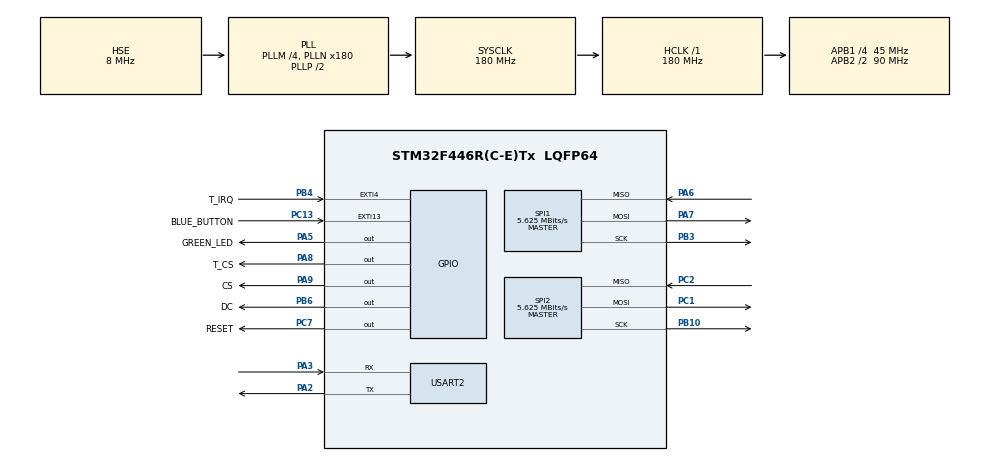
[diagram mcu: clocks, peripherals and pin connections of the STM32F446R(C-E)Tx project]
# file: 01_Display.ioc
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Dma.Request0=SPI1_TX
Dma.Request1=USART2_RX
Dma.Request2=USART2_TX
Dma.SPI1_TX.0.Direction=DMA_MEMORY_TO_PERIPH
Dma.SPI1_TX.0.FIFOMode=DMA_FIFOMODE_DISABLE
Dma.SPI1_TX.0.Instance=DMA2_Stream3
Dma.SPI1_TX.0.MemDataAlignment=DMA_MDATAALIGN_BYTE
Dma.SPI1_TX.0.MemInc=DMA_MINC_ENABLE
Dma.SPI1_TX.0.Mode=DMA_NORMAL
Dma.SPI1_TX.0.PeriphDataAlignment=DMA_PDATAALIGN_BYTE
Dma.SPI1_TX.0.PeriphInc=DMA_PINC_DISABLE
Dma.SPI1_TX.0.Priority=DMA_PRIORITY_LOW
Dma.USART2_RX.1.Direction=DMA_PERIPH_TO_MEMORY
Dma.USART2_RX.1.FIFOMode=DMA_FIFOMODE_DISABLE
Dma.USART2_RX.1.Instance=DMA1_Stream5
Dma.USART2_RX.1.MemDataAlignment=DMA_MDATAALIGN_BYTE
Dma.USART2_RX.1.MemInc=DMA_MINC_ENABLE
Dma.USART2_RX.1.Mode=DMA_NORMAL
Dma.USART2_RX.1.PeriphDataAlignment=DMA_PDATAALIGN_BYTE
Dma.USART2_RX.1.PeriphInc=DMA_PINC_DISABLE
Dma.USART2_RX.1.Priority=DMA_PRIORITY_LOW
Dma.USART2_TX.2.Direction=DMA_MEMORY_TO_PERIPH
Dma.USART2_TX.2.FIFOMode=DMA_FIFOMODE_DISABLE
Dma.USART2_TX.2.Instance=DMA1_Stream6
Dma.USART2_TX.2.MemDataAlignment=DMA_MDATAALIGN_BYTE
Dma.USART2_TX.2.MemInc=DMA_MINC_ENABLE
Dma.USART2_TX.2.Mode=DMA_NORMAL
Dma.USART2_TX.2.PeriphDataAlignment=DMA_PDATAALIGN_BYTE
Dma.USART2_TX.2.PeriphInc=DMA_PINC_DISABLE
Dma.USART2_TX.2.Priority=DMA_PRIORITY_LOW
FREERTOS.Queues01=sharedQueue,16,uint32_t,0,Dynamic,NULL,NULL
FREERTOS.Tasks01=normalTask,24,128,startNormalTask,Default,NULL,Dynamic,NULL,NULL;lvglTask,8,128,startLvglTask,Default,NULL,Dynamic,NULL,NULL;belowNormalTask,16,128,startBelowNormal,Default,NULL,Dynamic,NULL,NULL
FREERTOS.Timers01=lvglTimer,lvglTimerCallback,osTimerPeriodic,Default,NULL,Dynamic,NULL
Mcu.Family=STM32F4
Mcu.Name=STM32F446R(C-E)Tx
Mcu.Package=LQFP64
NVIC.DMA1_Stream5_IRQn=true\:5\:0\:false\:false\:true\:true\:false\:true\:true
NVIC.DMA1_Stream6_IRQn=true\:5\:0\:false\:false\:true\:true\:false\:true\:true
NVIC.DMA2_Stream3_IRQn=true\:5\:0\:false\:false\:true\:true\:false\:true\:true
NVIC.EXTI4_IRQn=true\:5\:0\:false\:false\:true\:true\:true\:true\:true
NVIC.PriorityGroup=NVIC_PRIORITYGROUP_4
NVIC.SPI1_IRQn=true\:5\:0\:false\:false\:true\:true\:true\:true\:true
NVIC.SPI2_IRQn=true\:5\:0\:false\:false\:true\:true\:true\:true\:true
NVIC.TIM6_DAC_IRQn=true\:15\:0\:false\:false\:true\:false\:false\:true\:true
NVIC.TimeBase=TIM6_DAC_IRQn
NVIC.TimeBaseIP=TIM6
NVIC.USART2_IRQn=true\:5\:0\:false\:false\:true\:true\:true\:true\:true
PA13.Mode=Serial_Wire
PA13.Signal=SYS_JTMS-SWDIO
PA14.Mode=Serial_Wire
PA14.Signal=SYS_JTCK-SWCLK
PA2.Mode=Asynchronous
PA2.Signal=USART2_TX
PA3.Mode=Asynchronous
PA3.Signal=USART2_RX
PA5.GPIO_Label=GREEN_LED
PA5.Signal=GPIO_Output
PA6.Mode=Full_Duplex_Master
PA6.Signal=SPI1_MISO
PA7.Mode=Full_Duplex_Master
PA7.Signal=SPI1_MOSI
PA8.GPIO_Label=T_CS
PA8.Signal=GPIO_Output
PA9.GPIO_Label=CS
PA9.Signal=GPIO_Output
PB10.Mode=Full_Duplex_Master
PB10.Signal=SPI2_SCK
PB3.Mode=Full_Duplex_Master
PB3.Signal=SPI1_SCK
PB4.GPIO_Label=T_IRQ
PB4.GPIO_ModeDefaultEXTI=GPIO_MODE_IT_FALLING
PB4.Signal=GPXTI4
PB6.GPIO_Label=DC
PB6.Signal=GPIO_Output
PC1.Mode=Full_Duplex_Master
PC1.Signal=SPI2_MOSI
PC13.GPIO_Label=BLUE_BUTTON
PC13.GPIO_ModeDefaultEXTI=GPIO_MODE_IT_FALLING
PC13.Signal=GPXTI13
PC14-OSC32_IN.Mode=LSE-External-Oscillator
PC14-OSC32_IN.Signal=RCC_OSC32_IN
PC15-OSC32_OUT.Mode=LSE-External-Oscillator
PC15-OSC32_OUT.Signal=RCC_OSC32_OUT
PC2.Mode=Full_Duplex_Master
PC2.Signal=SPI2_MISO
PC7.GPIO_Label=RESET
PC7.Signal=GPIO_Output
PH0-OSC_IN.Mode=HSE-External-Oscillator
PH0-OSC_IN.Signal=RCC_OSC_IN
PH1-OSC_OUT.Mode=HSE-External-Oscillator
PH1-OSC_OUT.Signal=RCC_OSC_OUT
ProjectManager.HeapSize=0x200
ProjectManager.StackSize=0x400
ProjectManager.TargetToolchain=CMake
RCC.AHBFreq_Value=180000000
RCC.APB1CLKDivider=RCC_HCLK_DIV4
RCC.APB1Freq_Value=45000000
RCC.APB1TimFreq_Value=90000000
RCC.APB2CLKDivider=RCC_HCLK_DIV2
RCC.APB2Freq_Value=90000000
RCC.APB2TimFreq_Value=180000000
RCC.CortexFreq_Value=180000000
RCC.HCLKFreq_Value=180000000
RCC.HSE_VALUE=8000000
RCC.PLLM=4
RCC.PLLN=180
RCC.PLLSourceVirtual=RCC_PLLSOURCE_HSE
RCC.RCC_RTC_Clock_SourceVirtual=RCC_RTCCLKSOURCE_LSE
RCC.SYSCLKFreq_VALUE=180000000
RCC.SYSCLKSource=RCC_SYSCLKSOURCE_PLLCLK
RCC.USBFreq_Value=180000000
RCC.VCOOutputFreq_Value=360000000
RTC.Date=12
RTC.Hours=9
RTC.Minutes=11
RTC.Month=RTC_MONTH_AUGUST
RTC.Year=25
SPI1.BaudRatePrescaler=SPI_BAUDRATEPRESCALER_16
SPI1.CalculateBaudRate=5.625 MBits/s
SPI1.Direction=SPI_DIRECTION_2LINES
SPI1.Mode=SPI_MODE_MASTER
SPI1.VirtualType=VM_MASTER
SPI2.BaudRatePrescaler=SPI_BAUDRATEPRESCALER_8
SPI2.CalculateBaudRate=5.625 MBits/s
SPI2.Direction=SPI_DIRECTION_2LINES
SPI2.Mode=SPI_MODE_MASTER
SPI2.VirtualType=VM_MASTER
USART2.VirtualMode=VM_ASYNC
VP_FREERTOS_VS_CMSIS_V2.Mode=CMSIS_V2
VP_RTC_VS_RTC_Activate.Mode=RTC_Enabled
VP_RTC_VS_RTC_Calendar.Mode=RTC_Calendar
VP_SYS_VS_tim6.Mode=TIM6
board=custom

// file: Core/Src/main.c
/* USER CODE BEGIN Header */
/**
  ******************************************************************************
  * @file           : main.c
  * @brief          : Main program body
  ******************************************************************************
  * @attention
  *
  * Copyright (c) 2025 STMicroelectronics.
  * All rights reserved.
  *
  * This software is licensed under terms that can be found in the LICENSE file
  * in the root directory of this software component.
  * If no LICENSE file comes with this software, it is provided AS-IS.
  *
  ******************************************************************************
  */
/* USER CODE END Header */
#include "main.h"
#include "ILI9341.h"
#include "cmsis_os.h"
#include "dma.h"
#include "lv_init.h"
#include "rtc.h"
#include "spi.h"
#include "usart.h"
#include "gpio.h"

/* USER CODE BEGIN Includes */
#include "lvgl.h"
#include "LCDController.h"
#include "TouchController.h"
#include "board_drivers.h"

/* USER CODE END Includes */

/* USER CODE BEGIN PD */
void load_gui(void);

/* USER CODE END PD */

void SystemClock_Config(void);
void MX_FREERTOS_Init(void);

int main(void)
{

  /* USER CODE BEGIN 1 */
  // Super early blink to confirm code is running at all
  RCC->AHB1ENR |= RCC_AHB1ENR_GPIOAEN;
  GPIOA->MODER &= ~(3U << (5 * 2));
  GPIOA->MODER |= (1U << (5 * 2));
  for(int i=0; i<20; i++) {
    GPIOA->ODR ^= (1U << 5);
    for(volatile int j=0; j<100000; j++);
  }
  /* USER CODE END 1 */

  /* MCU Configuration--------------------------------------------------------*/

  /* Reset of all peripherals, Initializes the Flash interface and the Systick. */
  HAL_Init();

  /* Configure the system clock */
  SystemClock_Config();

  /* Initialize all configured peripherals */
  MX_GPIO_Init();

  MX_DMA_Init();
  MX_SPI1_Init();
  MX_RTC_Init();
  MX_SPI2_Init();
  MX_USART2_UART_Init();
  /* USER CODE BEGIN 2 */
  lv_init();
  lv_port_disp_init(Board_GetDisplayConfig());
  TouchController_Init(Board_GetTouchConfig());
  load_gui();

  /* USER CODE END 2 */

  /* Init scheduler */
  osKernelInitialize();  /* Call init function for freertos objects (in cmsis_os2.c) */
  MX_FREERTOS_Init();

  /* Start scheduler */
  osKernelStart();

  /* We should never get here as control is now taken by the scheduler */

  /* Infinite loop */
  while (1)
  {

  }
}

void SystemClock_Config(void)
{
  RCC_OscInitTypeDef RCC_OscInitStruct = {0};
  RCC_ClkInitTypeDef RCC_ClkInitStruct = {0};

  /** Configure the main internal regulator output voltage
  */
  __HAL_RCC_PWR_CLK_ENABLE();
  __HAL_PWR_VOLTAGESCALING_CONFIG(PWR_REGULATOR_VOLTAGE_SCALE1);

  /** Initializes the RCC Oscillators according to the specified parameters
  * in the RCC_OscInitTypeDef structure.
  */
  RCC_OscInitStruct.OscillatorType = RCC_OSCILLATORTYPE_HSE|RCC_OSCILLATORTYPE_LSE;
  RCC_OscInitStruct.HSEState = RCC_HSE_ON;
  RCC_OscInitStruct.LSEState = RCC_LSE_ON;
  RCC_OscInitStruct.PLL.PLLState = RCC_PLL_ON;
  RCC_OscInitStruct.PLL.PLLSource = RCC_PLLSOURCE_HSE;
  RCC_OscInitStruct.PLL.PLLM = 4;
  RCC_OscInitStruct.PLL.PLLN = 180;
  RCC_OscInitStruct.PLL.PLLP = RCC_PLLP_DIV2;
  RCC_OscInitStruct.PLL.PLLQ = 2;
  RCC_OscInitStruct.PLL.PLLR = 2;
  if (HAL_RCC_OscConfig(&RCC_OscInitStruct) != HAL_OK)
  {
    Error_Handler();
  }

  /** Activate the Over-Drive mode
  */
  if (HAL_PWREx_EnableOverDrive() != HAL_OK)
  {
    Error_Handler();
  }

  /** Initializes the CPU, AHB and APB buses clocks
  */
  RCC_ClkInitStruct.ClockType = RCC_CLOCKTYPE_HCLK|RCC_CLOCKTYPE_SYSCLK
                              |RCC_CLOCKTYPE_PCLK1|RCC_CLOCKTYPE_PCLK2;
  RCC_ClkInitStruct.SYSCLKSource = RCC_SYSCLKSOURCE_PLLCLK;
  RCC_ClkInitStruct.AHBCLKDivider = RCC_SYSCLK_DIV1;
  RCC_ClkInitStruct.APB1CLKDivider = RCC_HCLK_DIV4;
  RCC_ClkInitStruct.APB2CLKDivider = RCC_HCLK_DIV2;

  if (HAL_RCC_ClockConfig(&RCC_ClkInitStruct, FLASH_LATENCY_5) != HAL_OK)
  {
    Error_Handler();
  }
}

/* USER CODE BEGIN 4 */
lv_obj_t * time_label = NULL;
lv_obj_t * date_label = NULL;

void load_gui(void)
{
    /* Create a screen */
    lv_obj_t * scr = lv_scr_act();

    /* Create a label on the screen */
    lv_obj_t * label = lv_label_create(scr);
    lv_label_set_text(label, "Hello, LVGL!");
    lv_obj_align(label, LV_ALIGN_CENTER, 0, -60);

    /* Create date label */
    date_label = lv_label_create(scr);
    lv_label_set_text(date_label, "--/--/----");
    lv_obj_align(date_label, LV_ALIGN_CENTER, 0, -20);

    /* Create time label */
    time_label = lv_label_create(scr);
    lv_label_set_text(time_label, "--:--:--");
    lv_obj_align(time_label, LV_ALIGN_CENTER, 0, 20);
}

/* USER CODE END 4 */

void HAL_TIM_PeriodElapsedCallback(TIM_HandleTypeDef *htim)
{
  if (htim->Instance == TIM6)
  {
    HAL_IncTick();
  }
}

void Error_Handler(void)
{
  __disable_irq();
  while (1)
  {
  }
}

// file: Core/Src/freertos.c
/* USER CODE BEGIN Header */
/**
  ******************************************************************************
  * File Name          : freertos.c
  * Description        : Code for freertos applications
  ******************************************************************************
  * @attention
  *
  * Copyright (c) 2025 STMicroelectronics.
  * All rights reserved.
  *
  * This software is licensed under terms that can be found in the LICENSE file
  * in the root directory of this software component.
  * If no LICENSE file comes with this software, it is provided AS-IS.
  *
  ******************************************************************************
  */
/* USER CODE END Header */

#include "FreeRTOS.h"
#include "cmsis_os2.h"
#include "misc/lv_timer.h"
#include "task.h"
#include "main.h"
#include "cmsis_os.h"

/* USER CODE BEGIN Includes */
#include "stm32f4xx_hal_gpio.h"
#include "rtc.h"
#include "usart.h"
#include "lvgl.h"
#include "TouchController.h"
#include <stdint.h>
#include <stdio.h>
#include <inttypes.h>
/* USER CODE END Includes */

/* USER CODE BEGIN Variables */
volatile uint32_t debugCounter = 0;

/* USER CODE END Variables */
/* Definitions for normalTask */
osThreadId_t normalTaskHandle;
const osThreadAttr_t normalTask_attributes = {
  .name = "normalTask",
  .stack_size = 128 * 4,
  .priority = (osPriority_t) osPriorityNormal,
};
/* Definitions for lvglTask */
osThreadId_t lvglTaskHandle;
const osThreadAttr_t lvglTask_attributes = {
  .name = "lvglTask",
  .stack_size = 2048 * 4,
  .priority = (osPriority_t) osPriorityLow,
};
/* Definitions for belowNormalTask */
osThreadId_t belowNormalTaskHandle;
const osThreadAttr_t belowNormalTask_attributes = {
  .name = "belowNormalTask",
  .stack_size = 128 * 4,
  .priority = (osPriority_t) osPriorityBelowNormal,
};
/* Definitions for sharedQueue */
osMessageQueueId_t sharedQueueHandle;
const osMessageQueueAttr_t sharedQueue_attributes = {
  .name = "sharedQueue"
};
/* Definitions for lvglTimer */
osTimerId_t lvglTimerHandle;
const osTimerAttr_t lvglTimer_attributes = {
  .name = "lvglTimer"
};

/* USER CODE BEGIN FunctionPrototypes */
osThreadId_t readAndLoadTimeHandle;
const osThreadAttr_t readAndLoadTime_attributes = {
  .name = "readAndLoadTime",
  .stack_size = 256 * 4,
  .priority = (osPriority_t) osPriorityLow3,
};

osThreadId_t dmaUartHandle;
const osThreadAttr_t dmaUart_attributes = {
  .name = "dmaUart",
  .stack_size = 256 * 4,
  .priority = (osPriority_t) osPriorityLow2,
};

osThreadId_t updateTimeGuiHandle;
const osThreadAttr_t updateTimeGui_attributes = {
  .name = "updateTimeGui",
  .stack_size = 256 * 4,
  .priority = (osPriority_t) osPriorityLow7,
};

void StartReadAndLoadTime(void *argument);
void StartDmaUartSender(void *argument);
void StartUpdateTimeGui(void *argument);

/* USER CODE END FunctionPrototypes */

void startNormalTask(void *argument);
void startLvglTask(void *argument);
void startBelowNormal(void *argument);
void lvglTimerCallback(void *argument);

void MX_FREERTOS_Init(void); /* (MISRA C 2004 rule 8.1) */

void MX_FREERTOS_Init(void) {

  /* Create the timer(s) */
  /* creation of lvglTimer */
  lvglTimerHandle = osTimerNew(lvglTimerCallback, osTimerPeriodic, NULL, &lvglTimer_attributes);

  /* USER CODE BEGIN RTOS_TIMERS */
  /* start timers, add new ones, ... */
  osTimerStart(lvglTimerHandle, 1);
  /* USER CODE END RTOS_TIMERS */

  /* Create the queue(s) */
  /* creation of sharedQueue */
  sharedQueueHandle = osMessageQueueNew (16, sizeof(uint32_t), &sharedQueue_attributes);

  /* Create the thread(s) */
  /* creation of normalTask */
  normalTaskHandle = osThreadNew(startNormalTask, NULL, &normalTask_attributes);

  /* creation of lvglTask */
  lvglTaskHandle = osThreadNew(startLvglTask, NULL, &lvglTask_attributes);

  /* creation of belowNormalTask */
  belowNormalTaskHandle = osThreadNew(startBelowNormal, NULL, &belowNormalTask_attributes);

  /* USER CODE BEGIN RTOS_THREADS */
  /* add threads, ... */
  readAndLoadTimeHandle = osThreadNew(StartReadAndLoadTime, NULL, &readAndLoadTime_attributes);
  dmaUartHandle = osThreadNew(StartDmaUartSender, NULL, &dmaUart_attributes);
  updateTimeGuiHandle = osThreadNew(StartUpdateTimeGui, NULL, &updateTimeGui_attributes);
  /* USER CODE END RTOS_THREADS */

}

void startNormalTask(void *argument)
{
  /* USER CODE BEGIN startNormalTask */
  /* Nothing to do — suspend indefinitely rather than burning CPU/context switches */
  for(;;)
  {
    osDelay(osWaitForever);
  }
  /* USER CODE END startNormalTask */
}

void startLvglTask(void *argument)
{
  /* USER CODE BEGIN startLvglTask */
  /* Infinite loop */
  for(;;)
  {
    osDelay(5);
    TouchController_Poll();
    lv_timer_handler(); /* let LVGL handle tasks */
  }
  /* USER CODE END startLvglTask */
}

void startBelowNormal(void *argument)
{
  /* USER CODE BEGIN startBelowNormal */
  /* Infinite loop */
  for(;;)
  {
    osDelay(1000);

    HAL_GPIO_TogglePin(GREEN_LED_GPIO_Port, GREEN_LED_Pin);

    debugCounter++;

    printf("Debug Counter: %" PRIu32 "\n", debugCounter);
  }
  /* USER CODE END startBelowNormal */
}

/* lvglTimerCallback function */
void lvglTimerCallback(void *argument)
{
  /* USER CODE BEGIN lvglTimerCallback */
  lv_tick_inc(1);

  /* USER CODE END lvglTimerCallback */
}

/* USER CODE BEGIN Application */

void StartReadAndLoadTime(void *argument)
{
  /* Infinite loop */
  for(;;)
  {
    /* Read RTC time once per second and push seconds-since-midnight (fits in 32-bit).
       Adjust delay or packing format if consumers expect a different layout. */
    osDelay(1000);

    RTC_TimeTypeDef sTime;
    RTC_DateTypeDef sDate;
    HAL_RTC_GetTime(&hrtc, &sTime, RTC_FORMAT_BIN);
    HAL_RTC_GetDate(&hrtc, &sDate, RTC_FORMAT_BIN);

    uint32_t message = (uint32_t)(sTime.Hours * 3600U + sTime.Minutes * 60U + sTime.Seconds);
    osMessageQueuePut(sharedQueueHandle, &message, 0, 0);
  }
}

void StartDmaUartSender(void *argument)
{
  /* Infinite loop */
  for(;;)
  {
    uint32_t message = 0;
    if (osMessageQueueGet(sharedQueueHandle, &message, NULL, osWaitForever) == osOK)
    {
      uint32_t hours = message / 3600U;
      uint32_t minutes = (message % 3600U) / 60U;
      uint32_t secs = message % 60U;

      char buf[32];
      int len = snprintf(buf, sizeof(buf), "RTC %02u:%02u:%02u\r\n", (unsigned)hours, (unsigned)minutes, (unsigned)secs);

      /* Wait until UART is ready for new DMA transfer */
      while (HAL_UART_GetState(&huart2) != HAL_UART_STATE_READY)
      {
        osDelay(1);
      }

      HAL_UART_Transmit_DMA(&huart2, (uint8_t*)buf, (uint16_t)len);

      /* Wait for transmission to complete before handling next message */
      while (HAL_UART_GetState(&huart2) != HAL_UART_STATE_READY)
      {
        osDelay(1);
      }
    }
  }
}

void StartUpdateTimeGui(void *argument)
{
  extern lv_obj_t * time_label;
  extern lv_obj_t * date_label;

  /* Infinite loop */
  for(;;)
  {
    osDelay(1000);

    if (time_label != NULL && date_label != NULL)
    {
      RTC_TimeTypeDef sTime;
      RTC_DateTypeDef sDate;
      HAL_RTC_GetTime(&hrtc, &sTime, RTC_FORMAT_BIN);
      HAL_RTC_GetDate(&hrtc, &sDate, RTC_FORMAT_BIN);

      char time_str[16];
      snprintf(time_str, sizeof(time_str), "%02d:%02d:%02d", sTime.Hours, sTime.Minutes, sTime.Seconds);

      char date_str[16];
      snprintf(date_str, sizeof(date_str), "%02d/%02d/20%02d", sDate.Month, sDate.Date, sDate.Year);

      /* LVGL is not thread-safe — acquire the lock before touching any LVGL objects */
      lv_lock();
      lv_label_set_text(time_label, time_str);
      lv_label_set_text(date_label, date_str);
      lv_unlock();
    }
  }
}

/* USER CODE END Application */
